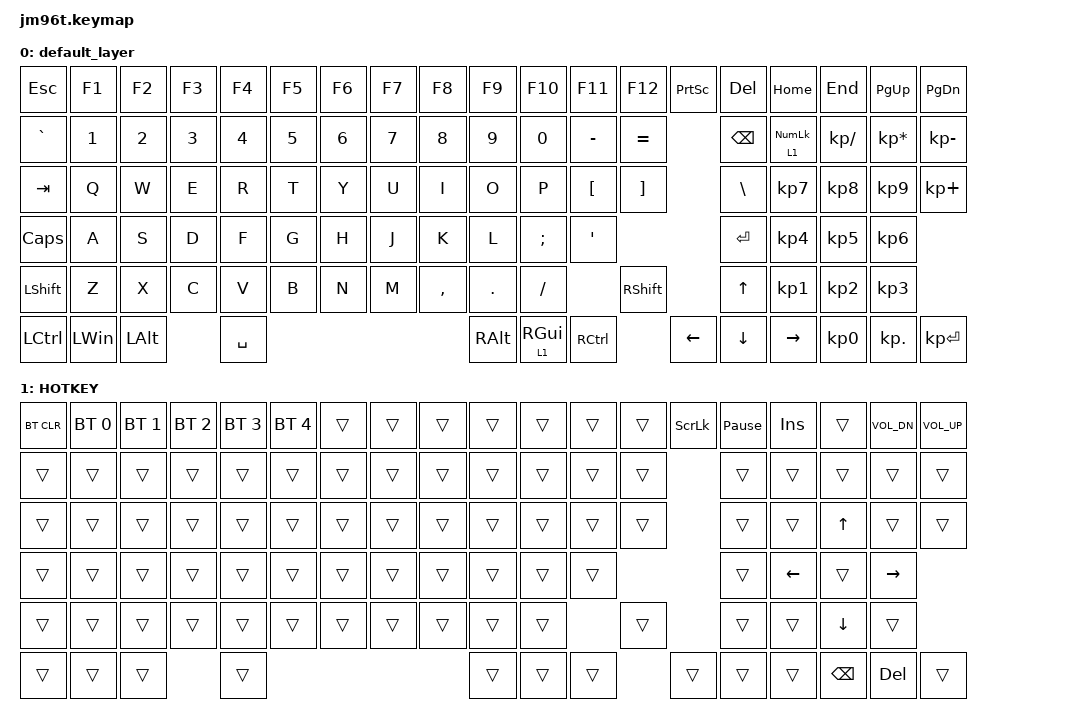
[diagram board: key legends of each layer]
/*
 * Copyright (c) 2021 Nick Winans
 *
 * SPDX-License-Identifier: MIT
 */
//#include <dt-bindings/zmk/rgb.h>

#include <behaviors.dtsi>
#include <dt-bindings/zmk/bt.h>
#include <dt-bindings/zmk/keys.h>

/ {
    keymap {
        compatible = "zmk,keymap";

        default_layer {
            bindings = <
&kp ESCAPE      &kp F1        &kp F2        &kp F3  &kp F4     &kp F5  &kp F6  &kp F7  &kp F8     &kp F9         &kp F10          &kp F11           &kp F12            &kp PRINTSCREEN  &kp DEL        &kp HOME          &kp END          &kp PAGE_UP      &kp PAGE_DOWN
&kp GRAVE       &kp N1        &kp N2        &kp N3  &kp N4     &kp N5  &kp N6  &kp N7  &kp N8     &kp N9         &kp N0           &kp MINUS         &kp EQUAL                           &kp BACKSPACE  &lt 1 KP_NUMLOCK  &kp KP_DIVIDE    &kp KP_MULTIPLY  &kp KP_MINUS
&kp TAB         &kp Q         &kp W         &kp E   &kp R      &kp T   &kp Y   &kp U   &kp I      &kp O          &kp P            &kp LEFT_BRACKET  &kp RIGHT_BRACKET                   &kp BACKSLASH  &kp KP_NUMBER_7   &kp KP_NUMBER_8  &kp KP_NUMBER_9  &kp KP_PLUS
&kp CAPS        &kp A         &kp S         &kp D   &kp F      &kp G   &kp H   &kp J   &kp K      &kp L          &kp SEMI         &kp SQT                                               &kp RET        &kp KP_N4         &kp KP_N5        &kp KP_N6
&kp LEFT_SHIFT  &kp Z         &kp X         &kp C   &kp V      &kp B   &kp N   &kp M   &kp COMMA  &kp PERIOD     &kp SLASH                          &kp RSHIFT                          &kp UP_ARROW   &kp KP_NUMBER_1   &kp KP_NUMBER_2  &kp KP_NUMBER_3
&kp LCTRL       &kp LEFT_WIN  &kp LEFT_ALT          &kp SPACE                                     &kp RIGHT_ALT  &lt 1 RIGHT_GUI  &kp RCTRL                            &kp LEFT         &kp DOWN       &kp RIGHT_ARROW   &kp KP_NUMBER_0  &kp KP_DOT       &kp KP_ENTER
            >;

            //            sensor-bindings = <&inc_dec_kp C_VOL_UP C_VOL_DN>;
        };

        HOTKEY {
            bindings = <
&bt BT_CLR  &bt BT_SEL 0  &bt BT_SEL 1  &bt BT_SEL 2  &bt BT_SEL 3  &bt BT_SEL 4  &trans  &trans  &trans  &trans  &trans  &trans  &trans  &kp SCROLLLOCK  &kp PAUSE_BREAK  &kp INS         &trans          &kp C_VOL_DN  &kp C_VOL_UP
&trans      &trans        &trans        &trans        &trans        &trans        &trans  &trans  &trans  &trans  &trans  &trans  &trans                  &trans           &trans          &trans          &trans        &trans
&trans      &trans        &trans        &trans        &trans        &trans        &trans  &trans  &trans  &trans  &trans  &trans  &trans                  &trans           &trans          &kp UP_ARROW    &trans        &trans
&trans      &trans        &trans        &trans        &trans        &trans        &trans  &trans  &trans  &trans  &trans  &trans                          &trans           &kp LEFT_ARROW  &trans          &kp RIGHT
&trans      &trans        &trans        &trans        &trans        &trans        &trans  &trans  &trans  &trans  &trans          &trans                  &trans           &trans          &kp DOWN_ARROW  &trans
&trans      &trans        &trans                      &trans                                              &trans  &trans  &trans          &trans          &trans           &trans          &kp BACKSPACE   &kp DEL       &trans
            >;
        };
    };
};
